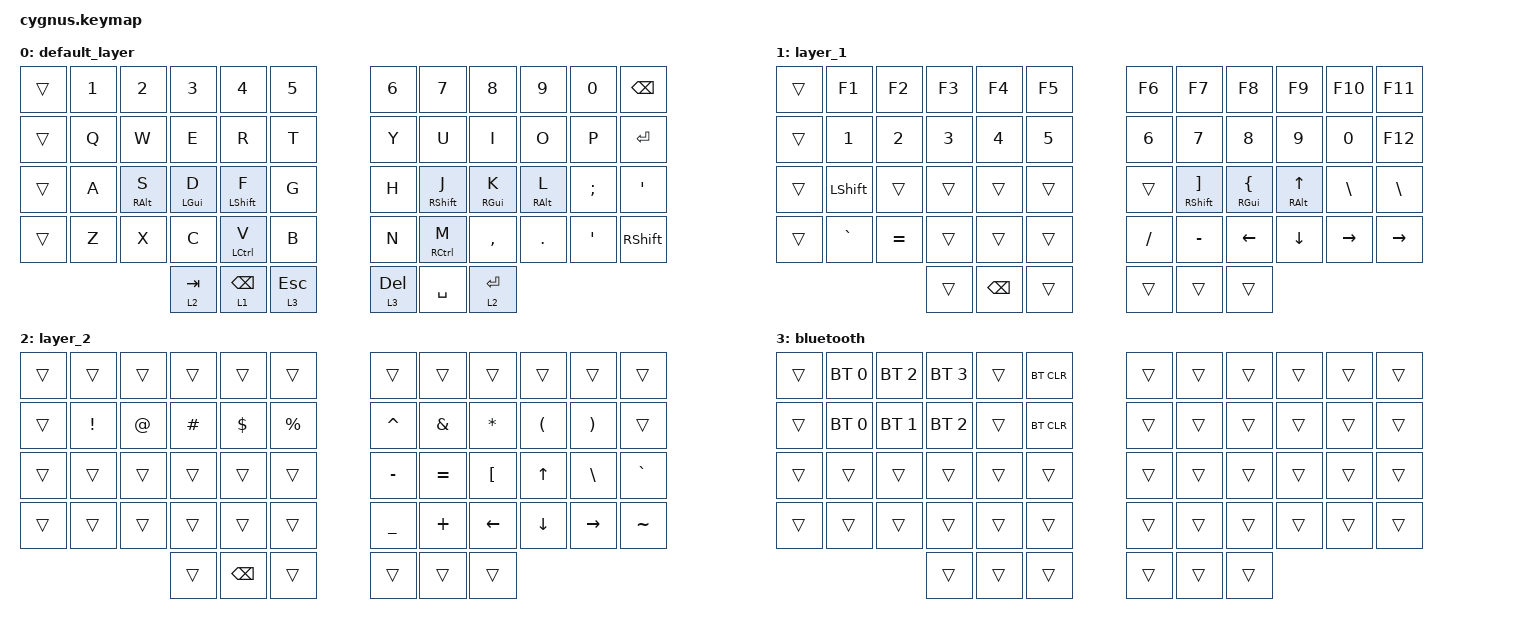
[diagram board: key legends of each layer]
#include <behaviors.dtsi>
#include <dt-bindings/zmk/bt.h>
#include <dt-bindings/zmk/keys.h>

/ {
    combos {
        compatible = "zmk,combos";

        bluetooth {
            bindings = <&mo 3>;
            key-positions = <41 37>;
        };

        bt2 {
            bindings = <&mo 3>;
            key-positions = <48 53>;
        };
    };

    behaviors {
        hml: hml {
            compatible = "zmk,behavior-hold-tap";
            label = "HOME_ROW_LEFT";
            bindings = <&kp>, <&kp>;

            #binding-cells = <2>;
            hold-trigger-key-positions = <6 7 8 9 10 11 18 19 20 21 22 23 30 31 32 33 34 35 42 43 44 45 46 47>;
            tapping-term-ms = <180>;
            quick-tap-ms = <175>;
            require-prior-idle-ms = <150>;
            flavor = "balanced";
            hold-trigger-on-release;
        };

        hmr: hmr {
            compatible = "zmk,behavior-hold-tap";
            label = "HOME_ROW_RIGHT";
            bindings = <&kp>, <&kp>;

            #binding-cells = <2>;
            tapping-term-ms = <180>;
            quick-tap-ms = <175>;
            require-prior-idle-ms = <150>;
            flavor = "balanced";
            hold-trigger-key-positions = <0 1 2 3 4 5 12 13 14 15 16 17 24 25 26 27 28 29 36 37 38 39 40 41>;
            hold-trigger-on-release;
        };
    };

    keymap {
        compatible = "zmk,keymap";

        default_layer {
            // -----------------------------------------------------------------------------------------
            // |  ESC |  1  |  2  |  3  |  4  |  5  |   |  6  |  7   |  8  |  9  |  0  |  ?   |
            // |  TAB |  Q  |  W  |  E  |  R  |  T  |   |  Y  |  U   |  I  |  O  |  P  | BKSP |
            // | CTRL |  A  |  S  |  D  |  F  |  G  |   |  H  |  J   |  K  |  L  |  ;  |  '   |
            // | SHFT |  Z  |  X  |  C  |  V  |  B  |   |  N  |  M   |  ,  |  .  |  /  | ESC  |
            //                    | GUI | LWR | SPC |   | ENT | RSE  | ALT |

            bindings = <
&trans  &kp N1  &kp N2            &kp N3           &kp N4               &kp N5          &kp N6        &kp N7                &kp N8            &kp N9            &kp N0            &kp BSPC
&trans  &kp Q   &kp W             &kp E            &kp R                &kp T           &kp Y         &kp U                 &kp I             &kp O             &kp P             &kp ENTER
&trans  &kp A   &hml RIGHT_ALT S  &hml LEFT_GUI D  &hml LEFT_SHIFT F    &kp G           &kp H         &hmr RIGHT_SHIFT J    &hmr RIGHT_GUI K  &hmr RIGHT_ALT L  &kp SEMI          &kp SQT
&trans  &kp Z   &kp X             &kp C            &hml LEFT_CONTROL V  &kp B           &kp N         &hmr RIGHT_CONTROL M  &kp COMMA         &kp DOT           &kp SINGLE_QUOTE  &kp RIGHT_SHIFT
                                  &lt 2 TAB        &lt 1 BACKSPACE      &lt 3 ESCAPE    &lt 3 DELETE  &kp SPACE             &lt 2 ENTER
            >;
        };

        layer_1 {
            // -----------------------------------------------------------------------------------------
            // |  TAB |  F1 |  F2 |  F3 |  F4 |  F5 |   |  F6 |  F7 |  F8 |  F9 | F10 | BKSP |
            // |  TAB |  1  |  2  |  3  |  4  |  5  |   |  6  |  7  |  8  |  9  |  0  | BKSP |
            // | BTCLR| BT1 | BT2 | BT3 | BT4 | BT5 |   | LFT | DWN |  UP | RGT |     |      |
            // | SHFT |     |     |     |     |     |   |     |     |     |     |     |      |
            //                    | GUI |     | SPC |   | ENT |     | ALT |

            bindings = <
&trans  &kp F1          &kp F2        &kp F3        &kp F4         &kp F5    &kp F6     &kp F7                          &kp F8                     &kp F9                   &kp F10    &kp F11
&trans  &kp NUMBER_1    &kp NUMBER_2  &kp NUMBER_3  &kp NUMBER_4   &kp N5    &kp N6     &kp N7                          &kp N8                     &kp N9                   &kp N0     &kp F12
&trans  &kp LEFT_SHIFT  &trans        &trans        &trans         &trans    &trans     &hmr RIGHT_SHIFT RIGHT_BRACKET  &hmr RIGHT_GUI LEFT_BRACE  &hmr RIGHT_ALT UP_ARROW  &kp BSLH   &kp BSLH
&trans  &kp GRAVE       &kp EQUAL     &trans        &trans         &trans    &kp SLASH  &kp MINUS                       &kp LEFT                   &kp DOWN_ARROW           &kp RIGHT  &kp RIGHT
                                      &trans        &kp BACKSPACE  &trans    &trans     &trans                          &trans
            >;
        };

        layer_2 {
            // -----------------------------------------------------------------------------------------
            // |  TAB |  !  |  @  |  #  |  $  |  %  |   |  ^  |  &  |  *  |  (  |  )  | BKSP |
            // | CTRL |     |     |     |     |     |   |  -  |  =  |  [  |  ]  |  \  |  `   |
            // | SHFT |     |     |     |     |     |   |  _  |  +  |  {  |  }  | "|" |  ~   |
            //                    | GUI |     | SPC |   | ENT |     | ALT |

            bindings = <
&trans  &trans    &trans  &trans    &trans         &trans       &trans     &trans     &trans     &trans          &trans     &trans
&trans  &kp EXCL  &kp AT  &kp HASH  &kp DLLR       &kp PRCNT    &kp CARET  &kp AMPS   &kp ASTRK  &kp LPAR        &kp RPAR   &trans
&trans  &trans    &trans  &trans    &trans         &trans       &kp MINUS  &kp EQUAL  &kp LBKT   &kp UP_ARROW    &kp BSLH   &kp GRAVE
&trans  &trans    &trans  &trans    &trans         &trans       &kp UNDER  &kp PLUS   &kp LEFT   &kp DOWN_ARROW  &kp RIGHT  &kp TILDE
                          &trans    &kp BACKSPACE  &trans       &trans     &trans     &trans
            >;
        };

        bluetooth {
            bindings = <
&trans  &bt BT_SEL 0  &bt BT_SEL 2  &bt BT_SEL 3  &trans  &bt BT_CLR    &trans  &trans  &trans  &trans  &trans  &trans
&trans  &bt BT_SEL 0  &bt BT_SEL 1  &bt BT_SEL 2  &trans  &bt BT_CLR    &trans  &trans  &trans  &trans  &trans  &trans
&trans  &trans        &trans        &trans        &trans  &trans        &trans  &trans  &trans  &trans  &trans  &trans
&trans  &trans        &trans        &trans        &trans  &trans        &trans  &trans  &trans  &trans  &trans  &trans
                                    &trans        &trans  &trans        &trans  &trans  &trans
            >;
        };
    };
};
